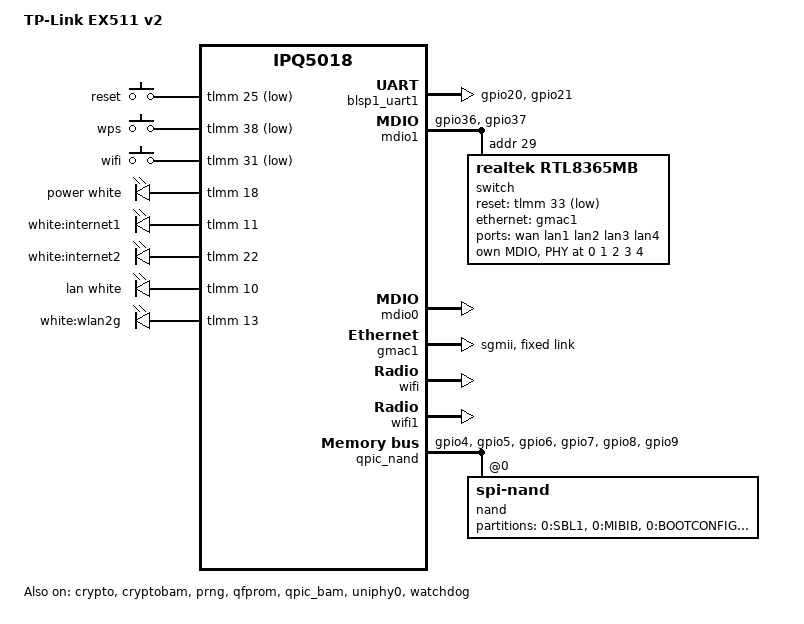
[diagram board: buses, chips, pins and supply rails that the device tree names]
// SPDX-License-Identifier: GPL-2.0-or-later OR MIT

/dts-v1/;

#include "ipq5018.dtsi"
#include "ipq5018-ess.dtsi"

/*
 * Include QCN6122 DTSI for the 5GHz radio protection domain definitions.
 * Physical chip is QCN6102 (confirmed by visual PCB inspection, marking:
 * "QUALCOM QCN 6102 001 JE437HXZ"). Stock firmware uses QCN6122 paths
 * throughout (firmware dirs, ini files) suggesting the firmware blob is
 * shared/compatible between QCN6102 and QCN6122. DTSI retained accordingly.
 */
#include "ipq5018-qcn6122.dtsi"

#include <dt-bindings/gpio/gpio.h>
#include <dt-bindings/input/input.h>
#include <dt-bindings/leds/common.h>

/*
 * TP-Link EX511 v2 — Board Topology
 *
 *  +-----------------------------+        +-----------------------------+
 *  |          IPQ5018            |        |          RTL8367S           |
 *  |                             |        |                             |
 *  |  +---------+                |        |  +-------+                 |
 *  |  |  2.4GHz |  ath11k        |        |  | PORT0 |----------  WAN  |
 *  |  |  WiFi   |  c000000.wifi  |        |  +-------+                 |
 *  |  +---------+                |        |  +-------+                 |
 *  |                             |        |  | PORT1 |----------  LAN1 |
 *  |  +------+   +------------+  |        |  +-------+                 |
 *  |  | gmac1|---| SGMII  1G  |--+--------+--| PORT6 |                 |
 *  |  | MAC  |   | 0x39d00000 |  |        |  | CPU   |  +-------+     |
 *  |  +------+   +------------+  |        |  +-------+  | PORT2 |---  LAN2
 *  |                             |        |             +-------+     |
 *  |  MDIO1: GPIO 36 (MDC)       |        |             +-------+     |
 *  |          GPIO 37 (MDIO)     |        |             | PORT3 |---  LAN3
 *  |                             |        |             +-------+     |
 *  +-----------------------------+        |             | PORT4 |---  LAN4
 *                                         |             +-------+     |
 *  +-----------------------------+        +-----------------------------+
 *  |          QCN6102            |
 *  |                             |
 *  |  +---------+                |
 *  |  |  5GHz   |  ath11k        |
 *  |  |  WiFi   |  b00a040.wifi  |
 *  |  +---------+                |
 *  |  AHB / PCIe                 |
 *  +-----------------------------+
 *
 *  NAND : 128 MiB SPI NAND via QPIC
 *  UART : GPIO 20 (RX) / GPIO 21 (TX) @ 115200n8
 *  USB  : USB 3.0, DWC3/QCOM controller
 */

/ {
	model = "TP-Link EX511 v2";
	compatible = "tplink,ex511-v2", "qcom,ipq5018";

	aliases {
		serial0 = &blsp1_uart1;
		label-mac-device = <&gmac1>;

		/*
		 * Deliberately NO ethernet0 alias. Stock U-Boot 2016.01 runs
		 * fdt_fixup_ethernet(), which walks /aliases for ethernet%d and
		 * injects mac-address + local-mac-address into the aliased node
		 * from its ethaddr environment variable. 0:APPSBLENV is 100%
		 * erased, so U-Boot falls back to its compiled-in default and
		 * hands Linux ethaddr=00:11:22:33:44:55 (visible in printenv, and
		 * matching "eth0 MAC Address from ART is not valid" in the stock
		 * boot log).
		 *
		 * of_get_mac_address() checks mac-address, then
		 * local-mac-address, then address, and only then the nvmem
		 * "mac-address" cell -- so an injected property silently beats
		 * the hw_mac_addr cell on misc_data_ro and every interface comes
		 * up as 00:11:22:33:44:55.
		 *
		 * Without the alias U-Boot has no node to fix up, gmac1 carries
		 * no MAC property, and the nvmem cell is used. None of the other
		 * 16 in-tree ipq5018 boards declare ethernet0 either.
		 */
	};

	chosen {
		stdout-path = "serial0:115200n8";
		/*
		 * U-Boot overwrites /chosen/bootargs from its own environment, so
		 * an explicit bootargs here is discarded -- verified on hardware,
		 * the cmdline arrived as bare "console=ttyMSM0,115200n8". Use
		 * bootargs-append, which OpenWrt appends to whatever U-Boot passes
		 * (920-device_tree_cmdline.patch), as every other ipq50xx board does.
		 *
		 * coherent_pool=2M is required: without it the atomic DMA pool is
		 * exhausted loading the Q6 firmware segments and ath11k fails -12.
		 */
		bootargs-append = " root=/dev/ubiblock0_1 swiotlb=1 coherent_pool=2M";
	};

	/*
	 * GPIO sources: reverse engineered from tp_gpio.ko .data section
	 * strings, extracted from stock NAND squashfs.
	 * Reset button GPIO 25 additionally confirmed by stock MP03.3 DTB:
	 * gengeric_gpio { reset { gpio = <0x19>; } } (0x19 = 25).
	 */
	keys {
		compatible = "gpio-keys";

		reset {
			label = "reset";
			gpios = <&tlmm 25 GPIO_ACTIVE_LOW>;
			linux,code = <KEY_RESTART>;
		};

		wps {
			label = "wps";
			gpios = <&tlmm 38 GPIO_ACTIVE_LOW>;
			linux,code = <KEY_WPS_BUTTON>;
		};

		/* WiFi button GPIO 31 -- from tp_gpio.ko, active polarity unconfirmed */
		wifi {
			label = "wifi";
			gpios = <&tlmm 31 GPIO_ACTIVE_LOW>;
			linux,code = <KEY_RFKILL>;
		};
	};

	leds {
		compatible = "gpio-leds";

		power {
			function = LED_FUNCTION_POWER;
			color = <LED_COLOR_ID_WHITE>;
			gpios = <&tlmm 18 GPIO_ACTIVE_HIGH>;
			default-state = "on";
		};

		/* Dual internet LEDs -- purpose/colour distinction TBD */
		internet1 {
			label = "white:internet1";
			gpios = <&tlmm 11 GPIO_ACTIVE_HIGH>;
		};

		internet2 {
			label = "white:internet2";
			gpios = <&tlmm 22 GPIO_ACTIVE_HIGH>;
		};

		lan {
			function = LED_FUNCTION_LAN;
			color = <LED_COLOR_ID_WHITE>;
			gpios = <&tlmm 10 GPIO_ACTIVE_HIGH>;
		};

		wlan2g {
			label = "white:wlan2g";
			gpios = <&tlmm 13 GPIO_ACTIVE_HIGH>;
			linux,default-trigger = "phy0tpt";
		};

		/*
		 * No wlan5g LED here. fl1ck3r's tp_gpio.ko reading assigned GPIO 39
		 * to it, but that value is unverified and GPIO 39 is currently
		 * unexplained: it is not the RTL8367S reset (that is GPIO 33, proven
		 * on hardware -- see the &mdio1 comment). The remaining LED GPIOs
		 * (10, 11, 13, 18, 22) come from the same unverified source.
		 */
	};

};

&sleep_clk {
	clock-frequency = <32000>;
};

&xo_board_clk {
	clock-div = <4>;
	clock-mult = <1>;
};

&crypto { status = "okay"; };
&cryptobam { status = "okay"; };
&prng { status = "okay"; };
&qfprom { status = "okay"; };
&qpic_bam { status = "okay"; };

&tlmm {
	qpic_pins: qpic-pins {
		data {
			pins = "gpio4", "gpio5", "gpio6", "gpio7";
			function = "qspi_data";
			drive-strength = <8>;
			bias-pull-up;
		};
		cs {
			pins = "gpio8";
			function = "qspi_cs";
			drive-strength = <8>;
			bias-pull-up;
		};
		clk {
			pins = "gpio9";
			function = "qspi_clk";
			drive-strength = <8>;
			bias-pull-up;
		};
	};

	mdio1_pins: mdio-state {
		mdc-pins {
			pins = "gpio36";
			function = "mdc";
			drive-strength = <8>;
			bias-pull-up;
		};

		mdio-pins {
			pins = "gpio37";
			function = "mdio";
			drive-strength = <8>;
			bias-pull-up;
		};
	};

	/*
	 * GPIO 20/21 are in the blsp0_uart0 pinmux group per
	 * pinctrl-ipq5018.c, despite the serial node being blsp1_uart1 --
	 * Qualcomm's group naming does not track the node labels. The
	 * earlier "blsp_uart" was rejected: "invalid function blsp_uart in
	 * map table".
	 */
	serial_0_pins: serial0-pins {
		rx {
			pins = "gpio20";
			function = "blsp0_uart0";
			bias-pull-up;
		};
		tx {
			pins = "gpio21";
			function = "blsp0_uart0";
			bias-pull-up;
		};
	};
};

&blsp1_uart1 {
	status = "okay";
	pinctrl-0 = <&serial_0_pins>;
	pinctrl-names = "default";
	clocks = <&gcc GCC_BLSP1_UART1_APPS_CLK>,
	         <&gcc GCC_BLSP1_AHB_CLK>;
	clock-names = "core", "iface";
};

&uniphy0 {
	status = "okay";

	assigned-clocks = <&uniphy0 UNIPHY_CLK_REF>;
	assigned-clock-rates = <UNIPHY_REFCLK_25MHZ>;
};

/*
 * mdio0 must be enabled even though nothing on this board hangs off it.
 * Its second reg is eth_ldo_rdy: mdio-ipq4019.c sets BIT(0) there to tell
 * the CMN PLL the ethernet LDO is ready. mdio1 has no such register, so
 * with mdio0 disabled every MDIO transaction times out (-ETIMEDOUT on the
 * whole bus, observed on hardware). Every in-tree ipq5018 board enables it.
 */

/*
 * RTL8367S-VB on mdio1, MDIO address 29 (0x1d).
 *
 * Address, transport and reset line were all recovered from the vendor
 * driver and then confirmed by reading the live chip over mdio-tools:
 *
 *   BUS=90000.mdio-1 ADDR=29 CHIP_ID=0x6642 CHIP_VER=0x0010
 *
 * The RTL8367S driver is built into qca-ssdk.ko (there is no separate
 * rtl8367s.ko). Its rtl8367c_smi_read/write are a register-for-register
 * match for Linux's realtek-mdio.c -- unlock CTRL0(31)=0x000e, address
 * ADDRESS(23)=reg, op CTRL1(21)=read/write, data via 24/25 -- and they
 * hardcode PHY address 29 in the argument qca_mdio_write() bounds-checks
 * at <= 31. Every other rtl8365mb board in tree also uses reg = <29>.
 *
 * Reset is GPIO 33, not 39. ssdk_rtl8367s_reset_gpio_get() looks for a
 * node named "rtl8367s_gpio" that exists in none of the 20 stock DTBs,
 * returns 0, and rtl8367s_hw_init() falls through to a hardcoded 33 which
 * it drives low 200 ms / high 200 ms -- so "reset by gpio33" in the stock
 * log is what actually ran. The stock DTB says the same independently:
 * mdio@90000 { phy-reset-gpio = <&tlmm 33 0>; }. Verified on hardware:
 * writing a marker to 0x13c2 and pulsing GPIO 33 clears it.
 *
 * GPIO 39 came from ess-switch1@1 { reset_gpio = <0x27>; }, which is
 * byte-identical across sdtb_02/06/18 -- three unrelated QCA reference
 * boards, alongside a stale compatible = "qcom,ess-switch-qca83xx" on a
 * board with no QCA8337. It is reference boilerplate, not EX511 data.
 *
 * Note an empty `mdio 90000.mdio-1` scan is expected even when the switch
 * is healthy: it does not answer standard PHY-ID reads, and the per-port
 * PHYs sit behind the switch's own nested mdio bus, not on the SoC bus.
 */
&mdio1 {
	status = "okay";
	pinctrl-0 = <&mdio1_pins>;
	pinctrl-names = "default";

	switch@1d {
		compatible = "realtek,rtl8365mb";
		reg = <29>;

		reset-gpios = <&tlmm 33 GPIO_ACTIVE_LOW>;

		mdio {
			#address-cells = <1>;
			#size-cells = <0>;

			ex511_phy0: ethernet-phy@0 {
				reg = <0>;
			};

			ex511_phy1: ethernet-phy@1 {
				reg = <1>;
			};

			ex511_phy2: ethernet-phy@2 {
				reg = <2>;
			};

			ex511_phy3: ethernet-phy@3 {
				reg = <3>;
			};

			ex511_phy4: ethernet-phy@4 {
				reg = <4>;
			};
		};

		ports {
			#address-cells = <1>;
			#size-cells = <0>;

			/*
			 * Socket mapping verified on hardware: one cable moved
			 * from RJ45 to RJ45, with every port brought up first,
			 * lit the labels below in declared order and all five
			 * negotiated 1 Gbps -- which also confirms the nested
			 * mdio node and the phy-handles drive all five PHYs.
			 *
			 * Repeating it: netifd only brings up wan at boot and
			 * carrier reads EINVAL on an admin-down netdev, so
			 * reading carrier for every netdev at once prints
			 * blanks that look like "no link" but really mean
			 * "interface down". Bring all five up first.
			 */
			port@0 {
				reg = <0>;
				label = "wan";
				phy-handle = <&ex511_phy0>;
			};

			port@1 {
				reg = <1>;
				label = "lan1";
				phy-handle = <&ex511_phy1>;
			};

			port@2 {
				reg = <2>;
				label = "lan2";
				phy-handle = <&ex511_phy2>;
			};

			port@3 {
				reg = <3>;
				label = "lan3";
				phy-handle = <&ex511_phy3>;
			};

			port@4 {
				reg = <4>;
				label = "lan4";
				phy-handle = <&ex511_phy4>;
			};

			port@6 {
				reg = <6>;
				ethernet = <&gmac1>;
				phy-mode = "sgmii";

				fixed-link {
					speed = <1000>;
					full-duplex;
				};
			};
		};
	};
};

&mdio0 {
	status = "okay";
};

/*
 * gmac0 -> IPQ5018 internal GE PHY. Unused on this board: all five RJ45
 * sockets hang off the RTL8367S.
 */
&gmac0 {
	status = "disabled";
};

/*
 * gmac1 @ 0x39d00000 -> SGMII to the RTL8367S CPU port (port 6).
 * Base address confirmed against the stock DTB's gmac2_cfg node.
 *
 * Driven by the upstream stmmac IPQ5018 DWMAC driver together with the
 * qca-uniphy PCS. The out-of-tree "qcom,nss-dp" binding this board was
 * originally written against no longer exists in the tree.
 *
 * SGMII/1G on both ends, matching every in-tree ipq5018 board with an
 * external switch (pz-l8, gl-b3000).
 *
 * HSGMII (2500base-x/2500 on both ends) was tried first, since U-Boot
 * prints "Set RTL8367S SGMII 2.5Gbps" and stock selects it (echo 2 >
 * /proc/rtl8367s/mii_type). Both ends reported "Link is Up - 2.5Gbps/Full",
 * but NOT ONE FRAME crossed the CPU link in either direction: with a cable
 * in lan1, the switch's own port-1 MIB counters climbed with ambient LAN
 * broadcast while eth0 rx_packets stayed at exactly 0, and eth0 tx_packets
 * incremented while port 1 egressed nothing. A fixed-link "up" is asserted
 * by configuration, not measured, so it proves nothing on its own.
 *
 * Suspected cause: the SerDes tuning parameters in the rtl8365mb HSGMII
 * support are lifted from the vendor driver for RTL8367S (0x6367/0x00A0)
 * parts and gated on a chip option register; this board is an RTL8367S-VB
 * (0x6642/0x0010), which that code has never seen. 1 Gbps is ample for an
 * AP -- revisit 2.5G as an optimisation, not a bring-up setting.
 */
&gmac1 {
	status = "okay";

	phy-mode = "sgmii";

	nvmem-cells = <&hw_mac_addr 0>;
	nvmem-cell-names = "mac-address";

	fixed-link {
		speed = <1000>;
		full-duplex;
	};
};

/*
 * 2.4GHz radio: IPQ5018 integrated (AHB), ath11k path c000000.wifi.
 * Board data generated with ath11k-bdencoder from stock bdwlan.bin.
 * Cal data: ART partition all 0xFF on this unit (ISP-erased).
 * Firmware falls back to internal defaults -- radio functional.
 * fw-memory-mode=2, as stock uses, NOT the 1 the other in-tree ipq5018
 * boards use -- see the note on &wifi1 below. Those boards have more DRAM
 * than this one.
 * Status: working. phy0 registers, the Q6 boots
 * (fw_version 0x270206d0) and AP mode comes up. The earlier "scan
 * broken" note referred to a fake cal file that was a copy of
 * bdwlan.bin; that is long gone -- 11-ath11k-caldata now writes the same
 * zero-filled dummy stock ends up with.
 */
&wifi {
	status = "okay";
	qcom,rproc = <&q6_wcss_pd1>;
	qcom,ath11k-calibration-variant = "TP-Link-EX511-v2";
	qcom,ath11k-fw-memory-mode = <2>;
	qcom,bdf-addr = <0x4c400000>;

	/*
	 * ath11k reads a MAC via device_get_mac_address(), which falls back
	 * to nvmem_get_mac_address(), so the same misc_data_ro cell that
	 * feeds gmac1 can feed the radio.
	 *
	 * The usual qualcommax route -- ath11k_patch_mac() into caldata
	 * extracted from 0:ART -- cannot work here: 0:ART is erased, our cal
	 * file is a zero-filled dummy, and the firmware ignores a MAC patched
	 * into it. The radio came up as 00:03:7f:12:65:65, a board-data
	 * default that would be identical on every EX511.
	 *
	 * This works because ath11k's ab->pdevs_macaddr_valid is false on this
	 * board, so the DT/nvmem address is used rather than a firmware-supplied
	 * one. Verified on hardware: phy0 comes up as 30:68:93:3f:b3:60. Were
	 * that flag ever true, the firmware MAC would win and the fallback is
	 * macaddr on the wifi-iface in /etc/config/wireless.
	 */
	nvmem-cells = <&hw_mac_addr 0>;
	nvmem-cell-names = "mac-address";
};

/*
 * The QCN6102 sits on user PD 2 here, and the Q6 firmware has to be told so:
 * without boot-args it expects the radio on UPD ID 3 instead, wlan1 never
 * finishes initialising, and ~40 s later the user-PD watchdog takes the root
 * PD down with it:
 *
 *   qcom-q6-mpd cd00000.remoteproc: fatal error received: err_smem_ver.2.1:
 *   dog_virtual_user.c:242 USER-PD DOG detects stalled initialization
 *   Thread name : TIMER_CLIENT_2  Process ID : 0x00000002  Process name :wlan1
 *
 * That is the "~59 s firmware crash" this board was held back over, and it was
 * never target-wide: yuncore,ax830 puts its radio on pd3, the firmware's own
 * default, so it never needed the property.
 *
 * The values are byte for byte what the stock DTB carries
 * (boot-args = <0x01 0x04 0x02 0x0f 0x00 0x00>) and what linksys,mx2000 and
 * cmcc,mr3000d-ci -- the two in-tree boards with this same QCN6102 on pd2 --
 * already use.
 */
&q6v5_wcss {
	boot-args = <
			/*       type:	*/	0x1	/* PCIE0	*/
			/*     length:	*/	4
			/*     UPD ID:	*/	2
			/* reset GPIO:	*/	15
			/*   reserved:	*/	0 0>;
};

/*
 * 5GHz radio: physical chip QCN6102 (confirmed visual: "QUALCOM QCN 6102
 * 001 JE437HXZ"). Stock firmware treats it as a QCN6122 throughout.
 * AHB path b00a040.wifi, protection domain q6_wcss_pd2. Settings below are
 * the ones the other in-tree QCN6122 boards use.
 *
 * Both radios run at fw-memory-mode 2, which is what stock uses and what this
 * board needs. Mode 1 is fine on the other in-tree ipq5018 boards, which carry
 * more DRAM; here, with 256 MiB and both radios up, ath11k's firmware DMA
 * allocations left barely 16 MiB free and the board died writing a 12 MiB file
 * to tmpfs:
 *
 *   Out of memory: Killed process 1589 (dropbear)
 *   Out of memory and no killable processes...
 *   Kernel panic - not syncing: System is deadlocked on memory
 *
 * With one radio there was 62 MiB free, so the second costs ~46 MiB at mode 1.
 * Mode 2 is the knob stock reaches for on exactly this hardware.
 *
 * The MAC needs a word too. misc_data_ro holds exactly one address and &wifi
 * takes it at index 0, so this radio needs a different one. Stock's own boot
 * log on this unit assigns 2.4GHz 30:68:93:3f:b3:60 and 5GHz ...b3:62, so use
 * index 2 and leave base+1 alone as stock does.
 */
&wifi1 {
	status = "okay";

	qcom,rproc = <&q6_wcss_pd2>;
	qcom,userpd-subsys-name = "q6v5_wcss_userpd2";
	qcom,ath11k-calibration-variant = "TP-Link-EX511-v2";
	qcom,ath11k-fw-memory-mode = <2>;
	qcom,bdf-addr = <0x4d100000>;
	qcom,m3-dump-addr = <0x4df00000>;

	nvmem-cells = <&hw_mac_addr 2>;
	nvmem-cell-names = "mac-address";
};

&blsp1_spi1 {
	status = "disabled";
};

&watchdog {
	status = "okay";
};

&qpic_nand {
	status = "okay";
	pinctrl-0 = <&qpic_pins>;
	pinctrl-names = "default";

	nand@0 {
		compatible = "spi-nand";
		reg = <0>;
		nand-ecc-engine = <&qpic_nand>;
		nand-bus-width = <8>;

		partitions {
			compatible = "fixed-partitions";
			#address-cells = <1>;
			#size-cells = <1>;

			partition@0 {
				label = "0:SBL1";
				reg = <0x0 0x80000>;
				read-only;
			};

			partition@80000 {
				label = "0:MIBIB";
				reg = <0x80000 0x80000>;
				read-only;
			};

			/*
			 * Writable on purpose, unlike every other bootloader
			 * partition here. These two hold the QCA bootconfig
			 * table that selects the active rootfs slot, and
			 * sysupgrade has to flip primaryboot in both to install
			 * into the inactive slot. Marked read-only they cannot
			 * be opened for writing at all, and the upgrade aborts:
			 *
			 *   running from rootfs, upgrading into rootfs_1
			 *   Could not open mtd device: /dev/mtd2
			 *   Can't open device for writing!
			 *   failed to write 0:BOOTCONFIG
			 *
			 * linksys,mx6200, whose A/B code this board reuses,
			 * does not hit this because it takes its partitions
			 * from qcom,smem-part, which sets no read-only flags.
			 * Only 336 bytes at the start are ever touched; nothing
			 * else lives in either partition.
			 */
			partition@100000 {
				label = "0:BOOTCONFIG";
				reg = <0x100000 0x40000>;
			};

			partition@140000 {
				label = "0:BOOTCONFIG1";
				reg = <0x140000 0x40000>;
			};

			partition@180000 {
				label = "0:QSEE";
				reg = <0x180000 0x100000>;
				read-only;
			};

			partition@280000 {
				label = "0:DEVCFG";
				reg = <0x280000 0x40000>;
				read-only;
			};

			partition@2c0000 {
				label = "0:CDT";
				reg = <0x2c0000 0x40000>;
				read-only;
			};

			partition@300000 {
				label = "0:APPSBLENV";
				reg = <0x300000 0x80000>;
			};

			partition@380000 {
				label = "0:APPSBL";
				reg = <0x380000 0x140000>;
				read-only;
			};

			partition@4c0000 {
				/*
				 * ART partition: all 0xFF on this unit.
				 * Unit is ISP-branded; ART was erased before
				 * delivery. Stock firmware falls back to
				 * bdwlan.bin in squashfs for board data.
				 */
				label = "0:ART";
				reg = <0x4c0000 0x100000>;
				read-only;
			};

			partition@5c0000 {
				label = "0:TRAINING";
				reg = <0x5c0000 0x80000>;
				read-only;
			};

			partition@640000 {
				label = "misc_data_ro";
				reg = <0x640000 0x600000>;
				read-only;

				/*
				 * The unit's only MAC address, 6 raw bytes at
				 * misc_data_ro + 0x113830 (absolute 0x753830 in
				 * the NAND dump). It is the sole MAC on the whole
				 * flash -- 0:ART is 100% erased, and a scan of all
				 * 128 MiB for the 30:68:93 OUI finds exactly one
				 * genuine record.
				 *
				 * CAVEAT, understand this before trusting it: this
				 * partition is a UBI container holding a UBIFS
				 * volume named "misc_ro" (stock does
				 * `mount -t ubifs -r ubi1:misc_ro`), so the address
				 * below is a raw offset into a filesystem, not a
				 * stable hardware location. It is valid only while
				 * UBI's PEB mapping and the UBIFS node layout stay
				 * put. In practice they do -- the volume is mounted
				 * read-only and never rewritten -- but a UBI scrub
				 * after a bit-flip could relocate it. The MAC
				 * currently lives in PEB 8 (vol 0, LEB 20) at LEB
				 * offset 0x12830.
				 *
				 * If this ever reads back garbage, the robust
				 * alternative is to attach the UBI device and read
				 * the file out of the mounted UBIFS, as stock does.
				 */
				nvmem-layout {
					compatible = "fixed-layout";
					#address-cells = <1>;
					#size-cells = <1>;

					hw_mac_addr: hw_mac_addr@113830 {
						#nvmem-cell-cells = <1>;
						compatible = "mac-base";
						reg = <0x113830 0x6>;
					};
				};
			};

			partition@c40000 {
				label = "misc_data_rw";
				reg = <0xc40000 0x600000>;
			};

			partition@1240000 {
				label = "rootfs";
				reg = <0x1240000 0x2460000>;
			};

			partition@36a0000 {
				label = "rootfs_1";
				reg = <0x36a0000 0x2460000>;
			};
			partition@5b00000 {
				label = "misc_data_rwbak";
				reg = <0x5b00000 0x600000>;
				read-only;
			};

			partition@6100000 {
				label = "misc_data_isp";
				reg = <0x6100000 0x600000>;
				read-only;
			};
		};
	};
};
